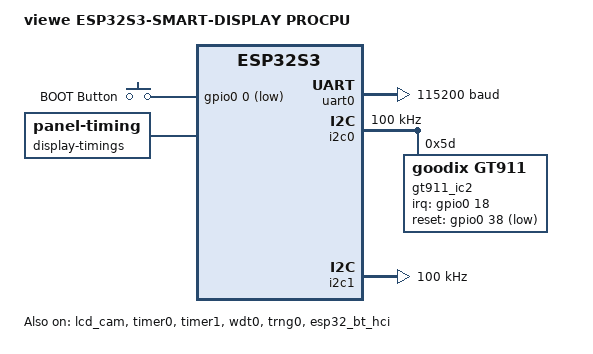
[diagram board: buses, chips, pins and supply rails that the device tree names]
/*
 * Copyright (c) 2024 Jerónimo Agulló <jeronimoagullo97@gmail.com>
 *
 * SPDX-License-Identifier: Apache-2.0
 */
/dts-v1/;

#include <espressif/esp32s3/esp32s3_wroom_n8r8.dtsi>
#include <zephyr/dt-bindings/input/input-event-codes.h>
#include <zephyr/dt-bindings/input/esp32-touch-sensor-input.h>
#include <espressif/partitions_0x0_amp.dtsi>
#include "esp32s3_smart_display-pinctrl.dtsi"
#include <zephyr/dt-bindings/display/panel.h>

/ {
	model = "viewe ESP32S3-SMART-DISPLAY PROCPU";
	compatible = "espressif,esp32s3";

	aliases {
		i2c-0 = &i2c0;
		watchdog0 = &wdt0;
		uart-0 = &uart0;
		sw0 = &button0;
		dma0 = &dma;
	};

	chosen {
		zephyr,sram = &sram0;
		zephyr,console = &uart0;
		zephyr,shell-uart = &uart0;
		zephyr,flash = &flash0;
		zephyr,code-partition = &slot0_partition;
		zephyr,bt-hci = &esp32_bt_hci;
		zephyr,display = &lcd_cam;
		zephyr,touch = &gt911_ic2;
	};

	buttons {
		compatible = "gpio-keys";
		button0: button_0 {
			gpios = <&gpio0 0 (GPIO_PULL_UP | GPIO_ACTIVE_LOW)>;
			label = "BOOT Button";
			zephyr,code = <INPUT_KEY_0>;
		};
	};

	lvgl_pointer {
		compatible = "zephyr,lvgl-pointer-input";
		input = <&gt911_ic2>;
	};

};

&dma {
	status = "okay";
};

&lcd_cam {
	compatible = "espressif,esp32-lcd-cam-display";
	status = "okay";

	pinctrl-0 = <&lcd_cam_default>;
	pinctrl-names = "default";
	//disp-on-gpios = <&gpioi 12 GPIO_ACTIVE_HIGH>; // no connected
	bl-ctrl-gpios = <&gpio0 2 GPIO_ACTIVE_HIGH>;

	dmas = <&dma 3>;
	dma-names = "tx";

	width = <800>;
	height = <480>;
	pixel-format = <PANEL_PIXEL_FORMAT_RGB_565>;
	display-timings {
		compatible = "zephyr,panel-timing";
		de-active = <0>;
		pixelclk-active = <0>;
		hsync-active = <0>;
		vsync-active = <0>;
		hsync-len = <1>;
		vsync-len = <10>;
		hback-porch = <42>;
		vback-porch = <12>;
		hfront-porch = <20>;
		vfront-porch = <4>;
		clock-frequency = <20000000>; //20MHz
	};
};

&usb_serial {
	status = "disabled";
};

&uart0 {
	status = "okay";
	current-speed = <115200>;
	pinctrl-0 = <&uart0_default>;
	pinctrl-names = "default";
};

&gpio0 {
	status = "okay";
};

&gpio1 {
	status = "okay";
};

&touch {
	debounce-interval-ms = <30>;
	href-microvolt = <2700000>;
	lref-microvolt = <500000>;
	href-atten-microvolt = <1000000>;
	filter-mode = <ESP32_TOUCH_FILTER_MODE_IIR_16>;
	filter-debounce-cnt = <1>;
	filter-noise-thr = <ESP32_TOUCH_FILTER_NOISE_THR_4_8TH>;
	filter-jitter-step = <4>;
	filter-smooth-level = <ESP32_TOUCH_FILTER_SMOOTH_MODE_IIR_2>;
};

&i2c0 {
	status = "okay";
	clock-frequency = <I2C_BITRATE_STANDARD>;
	pinctrl-0 = <&i2c0_default>;
	pinctrl-names = "default";
	gt911_ic2: gt911-ic2@5d {
		compatible = "goodix,gt911";
		reg = <0x5d>;
		irq-gpios = <&gpio0 18 GPIO_ACTIVE_HIGH>;
		reset-gpios = <&gpio0 38 GPIO_ACTIVE_LOW>;
	};
};

&i2c1 {
	clock-frequency = <I2C_BITRATE_STANDARD>;
	pinctrl-0 = <&i2c1_default>;
	pinctrl-names = "default";
};

&i2s0 {
	pinctrl-0 = <&i2s0_default>;
	pinctrl-names = "default";
	status = "disabled";
};

&i2s1 {
	pinctrl-0 = <&i2s1_default>;
	pinctrl-names = "default";
	status = "disabled";
};

/*&spi2 {
	#address-cells = <1>;
	#size-cells = <0>;
	status = "okay";
	pinctrl-0 = <&spim2_default>;
	pinctrl-names = "default";
};*/

/*&spi3 {
	#address-cells = <1>;
	#size-cells = <0>;
	status = "okay";
	pinctrl-0 = <&spim3_default>;
	pinctrl-names = "default";
};*/

&twai {
	pinctrl-0 = <&twai_default>;
	pinctrl-names = "default";
};

&timer0 {
	status = "okay";
};

&timer1 {
	status = "okay";
};

&timer2 {
	status = "disabled";
};

&timer3 {
	status = "disabled";
};

&wdt0 {
	status = "okay";
};

&trng0 {
	status = "okay";
};

&esp32_bt_hci {
	status = "okay";
};

/*
ltdc_r0_io45
ltdc_r1_io48
ltdc_r2_io47
ltdc_r3_io21
ltdc_r4_io14
ltdc_g0_io5
ltdc_g1_io6
ltdc_g2_io7
ltdc_g3_io15
ltdc_g4_io16
ltdc_g5_io4
ltdc_b0_io8
ltdc_b1_io3
ltdc_b2_io46
ltdc_b3_io9
ltdc_b4_io1
ltdc_clk_io42
ltdc_hsync_io39
ltdc_vsync_io41
ltdc_de_io40
*/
